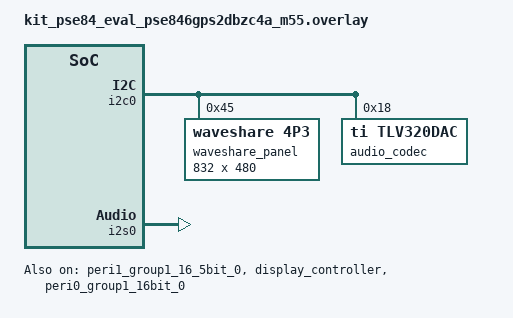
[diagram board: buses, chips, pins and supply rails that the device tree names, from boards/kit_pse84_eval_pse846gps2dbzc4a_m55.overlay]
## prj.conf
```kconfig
# DevCon 2026 PSOC Edge lab - Device Dashboard, cheat tier.
#
# The display half of this file is inherited wholesale from the proven
# e84-display-lab smoke test; the comments there explain *why* each symbol is
# needed and are kept verbatim because attendees read this file during
# touchpoint 2.

# --- Display plumbing (proven) --------------------------------------------
#
# The infineon_dc display driver only supports whole-frame flushes (it swaps
# the entire frame buffer pointer rather than copying partial rects), so LVGL
# must be forced into full-refresh rendering mode.
#
# A full-frame RGB565 buffer at 832x480 is ~781 KB, which does not fit in the
# M55 core's system RAM region. Placing it in the "GFX_MEMORY"
# zephyr,memory-region (the gfx_mem node the board overlay adds in SOCMEM)
# avoids the RAM overflow and matches what the DC hardware expects to read the
# framebuffer from anyway.
CONFIG_LV_Z_VDB_ZEPHYR_REGION=y
CONFIG_LV_Z_VDB_ZEPHYR_REGION_NAME="GFX_MEMORY"

# Two rendering buffers, not one. ifx_dc_write() does not copy pixels - it
# points the display controller straight at the buffer LVGL hands it. With a
# single buffer that is the same memory the panel is actively scanning out, so
# every element flickers once per update. Mandatory with full refresh.
CONFIG_LV_Z_DOUBLE_VDB=y

CONFIG_DISPLAY=y
CONFIG_DISPLAY_LOG_LEVEL_ERR=y

CONFIG_LVGL=y
CONFIG_LV_Z_FULL_REFRESH=y
CONFIG_LV_COLOR_DEPTH_16=y
CONFIG_LV_USE_LOG=y

# --- Touch input ----------------------------------------------------------
#
# The FocalTech controller is already described in the board DTS on i2c0; all
# that is needed here is to build the driver and the input subsystem that
# carries its events into LVGL's indev layer.
CONFIG_INPUT=y
CONFIG_INPUT_FT5336=y

# The touch node declares no "int-gpios", so INPUT_FT5336_INTERRUPT defaults
# to n and the driver polls on the system workqueue every 10 ms. Because
# input_report() refuses to block when called from syswq, a full queue drops
# events rather than waiting - silently, apart from a warning.
#
# Each sample reports three events (X, Y, BTN_TOUCH), so the default 16-deep
# queue holds only ~53 ms of touch. A full-screen repaint takes ~47 ms of
# uninterrupted CPU, and the input thread defaults to preemptible priority 0 -
# the same as main - so it cannot preempt the repaint to drain the queue.
# Every repaint therefore sat on the edge of overflowing it, and dragging a
# slider (which legitimately repaints continuously) pushed it over: the log
# filled with "Event dropped, queue full" and presses went missing.
#
# Two independent changes, because queue depth alone is a guess that has to
# track repaint duration:
#   - a deeper queue absorbs the burst (64 x 3 events = ~213 ms of touch)
#   - the input thread keeps its default preemptible priority. Raising it to
#     a cooperative priority also works and drains with lower latency, but a
#     cooperative thread is never preempted, so any slow callback - a stray
#     LOG_INF over a 115200 UART in immediate mode is enough - starves the
#     main thread that LVGL runs on. That is a sharp edge to leave in a lab
#     exercise, and the deeper queue alone covers the burst.
CONFIG_INPUT_QUEUE_MAX_MSGS=64

# The touch controller and the BMI270 share i2c0, and the bus throws an
# occasional error event under load. Recovering from one is expensive: the
# SCB interrupt handler busy-waits up to 10 ms for the block to go idle and
# then logs, which in immediate log mode blocks the UART for several more
# milliseconds - all with the interrupt still being serviced. A burst of
# those during a drag pushed lv_timer_handler from 47 ms to over 200 ms.
#
# Polling at 50 Hz instead of 100 Hz halves the transactions on the bus and
# so roughly halves the number of error events, while staying comfortably
# above the ~21 fps the display can actually repaint at. Note the symbol is
# INPUT_FT5336_PERIOD_MS - the driver has no CONFIG_INPUT_FT5336_PERIOD, and
# a .conf setting that name is accepted silently and does nothing.
CONFIG_INPUT_FT5336_PERIOD_MS=20

# --- LED PWM --------------------------------------------------------------
#
# See the board overlay for the devicetree side. Without CONFIG_PWM the
# PWM_DT_SPEC_GET() calls in src/main.c compile but resolve to a driver API
# that was never built.
#
# TODO 1c: uncomment the line below. This is the half of Step 1 that
# lives in Kconfig rather than in devicetree: the overlay says the LEDs
# exist, and this says build the driver that drives them. Leaving it out
# does not fail in the overlay - it fails at link time, a long way away.
# CONFIG_PWM=y

# --- IMU ------------------------------------------------------------------
#
# bmi270 is on i2c0 at 0x68 with the accel0 alias, declared by the board.
CONFIG_SENSOR=y
CONFIG_BMI270=y

# --- Local module ---------------------------------------------------------
#
# modules/tilt_filter is pulled in by ZEPHYR_EXTRA_MODULES in CMakeLists.txt,
# but a module only contributes code when its own Kconfig symbol is set. This
# line is the switch. Set it to n and the build still succeeds - the tilt
# readout just becomes visibly jittery.
#
# TODO 2a: uncomment both lines below. The second one is the filter
# strength - the module declares it with a default, so setting it here
# is optional, and changing it is the quickest way to see a Kconfig
# value reach real code.
# CONFIG_TILT_FILTER=y
# CONFIG_TILT_FILTER_ALPHA_PERCENT=18

# --- Audio feedback -------------------------------------------------------
#
# The second local module, modules/beeper, plays a short tone through the
# board's TLV320DAC3100 and onboard speaker when a slider is released. It
# needs three subsystems underneath it:
#
#   I2S          carries the samples to the codec
#   AUDIO_CODEC  configures and routes the codec over i2c0 (it has no data
#                path of its own - see the comment at the top of beeper.c)
#   DMA          the I2S transmitter is fed by dma0 channel 1
#
# The codec, i2s0 and the clock divider that produces its 12.288 MHz MCLK
# are all described in the board overlay.
#
# TODO 3a: uncomment CONFIG_BEEPER below. Note the four symbols above it
# are already set: BEEPER depends on I2S and AUDIO_CODEC, and a symbol
# whose dependencies are unmet is silently dropped rather than reported,
# so turning it on without them would look like nothing happened.
CONFIG_I2S=y
CONFIG_AUDIO=y
CONFIG_AUDIO_CODEC=y
CONFIG_DMA=y

# CONFIG_BEEPER=y

# --- LVGL widgets and fonts used by the UI --------------------------------
#
# Each widget family is an independent Kconfig symbol so unused ones cost no
# flash. The dashboard uses sliders (which are built on bars), an arc for the
# tilt meter, and labels throughout.
CONFIG_LV_USE_LABEL=y
CONFIG_LV_USE_BAR=y
CONFIG_LV_USE_SLIDER=y
CONFIG_LV_USE_ARC=y

CONFIG_LV_FONT_MONTSERRAT_14=y
CONFIG_LV_FONT_MONTSERRAT_18=y
CONFIG_LV_FONT_MONTSERRAT_28=y
CONFIG_LV_FONT_MONTSERRAT_40=y

# Rounded corners, gradients and the arc's anti-aliased stroke all allocate
# from LVGL's own heap rather than the Zephyr heap. The smoke test's 16 KB is
# not enough once there are a dozen styled objects on screen.
CONFIG_LV_Z_MEM_POOL_SIZE=49152

# --- Diagnostics ----------------------------------------------------------
CONFIG_LOG=y
# Immediate mode so the build-stamp banner (see src/main.c) can never be lost
# to a deferred log ring buffer that doesn't get serviced if something early
# in the display init path hangs.
CONFIG_LOG_MODE_IMMEDIATE=y

CONFIG_MAIN_STACK_SIZE=8192
```

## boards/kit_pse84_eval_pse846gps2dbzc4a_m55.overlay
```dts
/*
 * Copyright (c) 2026 Infineon Technologies AG,
 * or an affiliate of Infineon Technologies AG.
 *
 * SPDX-License-Identifier: Apache-2.0
 *
 * DevCon 2026 PSOC Edge lab - Device Dashboard overlay (cheat tier).
 *
 * Two halves, both needed by the dashboard:
 *   1. Display + touch: Waveshare 4.3" DSI panel (800x480 active /
 *      832x480 total timing) on the infineon_dc controller, plus the
 *      FocalTech touch controller already present on i2c0.
 *   2. LED PWM: the three on-board LEDs rerouted from gpio-leds to TCPWM
 *      so they can be dimmed rather than just switched.
 *
 * The PWM half was brought up and proven on real hardware before being
 * merged in here - see zephyr-apps/e84-pwm-proof/.
 */

#include <zephyr/dt-bindings/pwm/pwm.h>
#include <zephyr/dt-bindings/display/panel.h>
#include <zephyr/dt-bindings/clock/ifx_clock_source_common.h>
#include <zephyr/dt-bindings/memory-attr/memory-attr-arm.h>

/*
 * MIPI DSI PHY reference clock.
 *
 * clk_hf12 is not a peripheral bus clock - no IP in the PDL's MMIO table
 * claims it (GFXSS itself runs from CLK_HF1, which the board already
 * drives at the 400 MHz that display_infineon_dc.c's hardcoded
 * GFXSS_config.clockHz expects). It is the DSI PHY's PLL reference, and
 * like most DSI PHYs this one needs a reference in the ~25 MHz range.
 *
 * Both mainline and Infineon's downstream kit_pse84_eval_m33.dts leave
 * clk_hf12 on CLKPATH4, which has no DPLL attached and so falls back to
 * the 50 MHz IMO - too fast for the PHY to lock. Measured on hardware
 * with Cy_SysClk_ClkHfGetFrequency(). The failure is completely silent:
 * the display controller still raises frame-complete interrupts, panel
 * I2C still works, every init call still returns 0, and the only visible
 * symptom is that the panel's backlight never turns on (this panel gates
 * its backlight on locking to a valid video stream).
 *
 * CLKPATH3 divided by 2 gives 25 MHz. This matches the known-working
 * configuration used for the PSOC Edge graphics benchmarking work on this
 * same board and panel, which carried the identical app-level override.
 */
&clk_hf12 {
	status = "okay";
	source-path = <IFX_CLK_HF_IN_CLKPATH3>;
	clock-div = <IFX_CLK_HF_DIVIDE_BY_2>;
};

/ {
	chosen {
		zephyr,display = &display_controller;
	};

	soc {
		/*
		 * display_infineon_dc.c hard-codes a reference to a DT
		 * nodelabel literally named "gfx_mem" (GFX_BUF_ADDR_BASE =
		 * DT_REG_ADDR(DT_NODELABEL(gfx_mem))) for its frame buffer.
		 * Mainline's kit_pse84_eval board files never carried this
		 * node over from Infineon's downstream fork (only m55_data,
		 * 256 KB at 0x26100000, is reserved there) - add it here.
		 * SOCMEM is 0x26000000..0x26500000 (5 MB); this carves out
		 * 2 MB starting right after m55_data, well clear of the 5 MB
		 * bound. No GPU/vg_lite in this smoke test, so the whole
		 * region is available to the DC's plain framebuffer.
		 */
		gfx_mem: memory@26140000 {
			compatible = "zephyr,memory-region", "mmio-sram";
			zephyr,memory-region = "GFX_MEMORY";
			reg = <0x26140000 DT_SIZE_M(2)>;

			/*
			 * The display controller DMAs the frame buffer
			 * straight out of SOCMEM while the CM55 renders into
			 * it through its D-cache, so this region has to be
			 * mapped non-cacheable or the DC scans out whatever
			 * stale contents SOCMEM happens to hold - the dirty
			 * cache lines may never be written back. The symptom
			 * is garbled/torn output with an otherwise perfectly
			 * healthy pipeline (DC interrupts firing, every flush
			 * returning success).
			 *
			 * Infineon's downstream fork solves this with a
			 * bespoke ".cy_gpu_buf" non-cacheable linker section,
			 * which mainline has no equivalent of. The portable
			 * way is the standard memory-attr binding.
			 */
			zephyr,memory-attr = <DT_MEM_ARM(ATTR_MPU_RAM_NOCACHE)>;
		};
	};
};

&i2c0 {
	waveshare_panel: waveshare_panel@45 {
		compatible = "waveshare,4p3";
		reg = <0x45>;
		status = "okay";
		pixel-format = <PANEL_PIXEL_FORMAT_RGB_888>;
		height = <480>;
		width = <832>;
	};

	/*
	 * U18 on the base board (sheet 18). The TLV320DAC3100's RESET pin is
	 * pulled to VDD_1V8 through R156 and only brought out to an
	 * unpopulated test point, so there is no GPIO to name here. Mainline
	 * required reset-gpios until very recently; the fork carries the
	 * change that makes it optional, after which the driver falls back to
	 * the I2C software reset it issues anyway.
	 *
	 * The 3.5 mm headphone jack on this board is a do-not-install part,
	 * so the only usable output is the mono class-D speaker on SPKP/SPKM.
	 * The in-tree driver configures both output paths unconditionally, so
	 * nothing extra is needed to select the speaker - only its gain. The
	 * onboard MCABS-247-RC is quiet at the 6 dB reset default; 18 dB is
	 * comfortable without clipping.
	 */
	audio_codec: tlv320dac3100@18 {
		compatible = "ti,tlv320dac";
		reg = <0x18>;
		speaker-gain = <18>;
		status = "okay";
	};
};

/*
 * I2S0 drives the codec only - the DAC3100 has no ADC - so only the transmit
 * direction and its DMA channel are described. The board's PDM microphones
 * are deliberately left out: this lab plays feedback tones, it does not
 * record.
 */
&i2s0 {
	pinctrl-0 = <&p21_3_tdm_i2s0_tx_mck &p21_2_tdm_i2s0_tx_sck
		     &p12_3_tdm_i2s0_tx_fsync &p21_1_tdm_i2s0_tx_sd>;
	pinctrl-names = "default";
	clocks = <&peri1_group1_16_5bit_0>;
	status = "okay";

	dmas = <&dma0 1>;
	dma-names = "tx";
};

&p21_3_tdm_i2s0_tx_mck {
	drive-push-pull;
	drive-strength = "half";
};

&p21_2_tdm_i2s0_tx_sck {
	drive-push-pull;
	drive-strength = "half";
};

&p12_3_tdm_i2s0_tx_fsync {
	drive-push-pull;
	drive-strength = "half";
};

&p21_1_tdm_i2s0_tx_sd {
	drive-push-pull;
	drive-strength = "half";
};

/*
 * MCLK to the codec. clk_hf7 feeds peri1_group1 and is left at the board
 * default (CLKPATH1 / dpll_lp1 = 49.152 MHz), so /4 gives exactly
 * 12.288 MHz. At 16 kHz / 16-bit / stereo the I2S driver then divides to
 * 512 kHz and the codec resolves to an integer set of DAC dividers - the
 * point of picking a 49.152 MHz path is that every division below it comes
 * out exact, so there is no sample-rate error to hear.
 *
 * Note this property is the divisor itself, despite infineon,peri-div.yaml
 * documenting it as (clock-div + 1).
 */
&peri1_group1_16_5bit_0 {
	status = "okay";
	clock-div = <3>;
	div-frac-value = <0>;
};

&dma0 {
	status = "okay";
};

&gpio_prt12 {
	status = "okay";
};

&gpio_prt21 {
	status = "okay";
};

&display_controller {
	status = "okay";

	height = <480>;
	width = <832>;

	pixel-clock-khz = <33768>;
	hsync-width = <10>;
	hfp = <210>;
	hbp = <20>;
	vsync-width = <5>;
	vfp = <20>;
	vbp = <20>;

	data-lanes = <1>;
	per-lane-mbps = <810>;

	input-pixel-format = <PANEL_PIXEL_FORMAT_RGB_565>;
	panel = <&waveshare_panel>;
};

/* ---- LED PWM path (proven on hardware 2026-10-02) ---- */

/*
 * The board's gpio-leds node drives these same three pins as plain GPIO
 * outputs at init, which would fight the TCPWM peripheral for the pin. The
 * node has no nodelabel, so reference it by path.
 */
&{/leds} {
	status = "disabled";
};

/*
 * Each LED pin has a direct TCPWM option in the SoC pinctrl file
 * (pse84.bga-220_s.dtsi), so the counter output reaches the pad with no
 * trigger-mux routing:
 *
 *   LED0 / Red    P16.7 -> p16_7_pwm0_7 -> tcpwm0_7
 *   LED1 / Green  P16.6 -> p16_6_pwm0_6 -> tcpwm0_6
 *   LED2 / Blue   P16.5 -> p16_5_pwm0_5 -> tcpwm0_5
 *
 * Both the TCPWM instance and its pwm child default to disabled, so each
 * needs enabling explicitly.
 */
/*
 * The TCPWM counter needs a peripheral clock divider. This is the part the
 * binding does not tell you about: infineon,tcpwm-pwm.yaml never declares
 * "clocks" as required, but pwm_infineon_tcpwm.c dereferences it
 * unconditionally (PWM_PERI_CLOCK_INIT reads peri-group, div-type and
 * channel straight off the phandle). Omit it and you get a wall of macro
 * expansion errors rather than a devicetree diagnostic.
 *
 * TCPWM0 sits in peripheral instance 0, group 1 (clk-dst 0x112/0x113/0x114),
 * so the divider has to come from that same group. The board already claims
 * peri0_group1_16bit_1 for UART2 and _16bit_3 for I2C0, leaving _16bit_0
 * and _16bit_2 free.
 *
 * One divider feeds all three LEDs: they share a period, and a divider is a
 * clock source that any number of destinations can be assigned to.
 */
&peri0_group1_16bit_0 {
	status = "okay";
	clock-div = <1>;
};

/*
 * TODO 1a: enable the three TCPWM counters that drive the LEDs.
 *
 * Uncomment the six blocks below. Each LED needs two: the counter
 * instance (&tcpwm0_N) and the pwm child under it (&pwm0_N). Both
 * default to disabled, so enabling only one half gets you nothing.
 *
 * The "clocks" property on each pwm child is already filled in and is
 * worth a look - see the comment above &peri0_group1_16bit_0. The
 * binding does not mark it required, but the driver dereferences it
 * unconditionally, so leaving it out gets you a page of macro
 * expansion errors rather than a devicetree diagnostic.
 *
 * Then do TODO 1b at the bottom of this file.
 */
// &tcpwm0_7 {
// 	status = "okay";
// };
//
// &pwm0_7 {
// 	status = "okay";
// 	clocks = <&peri0_group1_16bit_0>;
// 	pinctrl-0 = <&p16_7_pwm0_7>;
// 	pinctrl-names = "default";
// };
//
// &tcpwm0_6 {
// 	status = "okay";
// };
//
// &pwm0_6 {
// 	status = "okay";
// 	clocks = <&peri0_group1_16bit_0>;
// 	pinctrl-0 = <&p16_6_pwm0_6>;
// 	pinctrl-names = "default";
// };
//
// &tcpwm0_5 {
// 	status = "okay";
// };
//
// &pwm0_5 {
// 	status = "okay";
// 	clocks = <&peri0_group1_16bit_0>;
// 	pinctrl-0 = <&p16_5_pwm0_5>;
// 	pinctrl-names = "default";
// };

/*
 * Routing the pin to the TCPWM is only half the job. The Infineon pinctrl
 * driver starts from CY_GPIO_DM_ANALOG and only moves off it if the node
 * asks for a drive mode or a bias - see soc_gpio_get_drv_mode() in
 * drivers/pinctrl/pinctrl_infineon.c. A node carrying nothing but "pinmux"
 * therefore leaves the pad in analog high-Z: correctly muxed to the counter
 * and driving nothing.
 *
 * Nothing reports this. The PWM driver programs its registers happily and
 * every pwm_set_pulse_dt() call returns 0, because no part of the chain can
 * see that the pad is disconnected. The only symptom is a dark LED.
 *
 * The board's own pinctrl file does the same thing for every output it uses
 * (drive-push-pull on each UART TX, drive-open-drain plus input-enable on
 * the I2C pair), which is the idiom followed here. No input-enable: these
 * pins are outputs only, so the input buffer stays off.
 */
&p16_7_pwm0_7 {
	drive-push-pull;
};

&p16_6_pwm0_6 {
	drive-push-pull;
};

&p16_5_pwm0_5 {
	drive-push-pull;
};

/ {
	/*
	 * pwm-leds gives us the pwm_dt_spec helpers (pwm_set_pulse_dt), which
	 * is the API the lab teaches. The period lives in the pwm-cells: the
	 * first cell is the channel (unused by this driver), the second the
	 * period in ns, the third the flags.
	 *
	 * 1 ms period = 1 kHz, comfortably above the ~100 Hz flicker-fusion
	 * threshold, so a dimmed LED looks steady rather than strobing.
	 */
	/*
	 * TODO 1b: uncomment this whole "pwmleds" block and the
	 * "aliases" block under it, once TODO 1a above is done.
	 *
	 * It has to stay fully commented out until then: a pwm-leds node
	 * whose "pwms" property points at a disabled counter fails
	 * devicetree validation, so a half-done Step 1 does not build.
	 *
	 * pwmleds {
	 *	compatible = "pwm-leds";
	 *
	 *	pwm_led_red: pwm_led_red {
	 *		pwms = <&pwm0_7 0 PWM_MSEC(1) PWM_POLARITY_NORMAL>;
	 *		label = "PWM LED_0 Red";
	 *	};
	 *
	 *	pwm_led_green: pwm_led_green {
	 *		pwms = <&pwm0_6 0 PWM_MSEC(1) PWM_POLARITY_NORMAL>;
	 *		label = "PWM LED_1 Green";
	 *	};
	 *
	 *	pwm_led_blue: pwm_led_blue {
	 *		pwms = <&pwm0_5 0 PWM_MSEC(1) PWM_POLARITY_NORMAL>;
	 *		label = "PWM LED_2 Blue";
	 *	};
	 * };
	 *
	 * aliases {
	 *	pwm-led0 = &pwm_led_red;
	 *	pwm-led1 = &pwm_led_green;
	 *	pwm-led2 = &pwm_led_blue;
	 * };
	 */
};
```

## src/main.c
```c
/*
 * Copyright (c) 2026 Infineon Technologies AG,
 * or an affiliate of Infineon Technologies AG.
 *
 * SPDX-License-Identifier: Apache-2.0
 *
 * DevCon 2026 PSOC Edge lab - Device Dashboard, cheat tier.
 *
 * Three on-board LEDs dimmed over hardware PWM from LVGL sliders, plus a live
 * tilt readout from the on-board BMI270. Nothing on this screen is simulated:
 * touch drives real hardware, and the meter follows a real sensor.
 *
 * The three lab touchpoints all meet here:
 *   - devicetree: the pwm-led0..2 aliases and accel0 resolved below only
 *     exist because of boards/kit_pse84_eval_pse846gps2dbzc4a_m55.overlay
 *   - modules:    LVGL arrives as a west module; tilt_filter is a local one
 *   - code:       the PWM, sensor and LVGL API calls in this file
 */

#include <zephyr/device.h>
#include <zephyr/devicetree.h>
#include <zephyr/drivers/display.h>
#include <zephyr/drivers/pwm.h>
#include <zephyr/drivers/sensor.h>
#include <zephyr/kernel.h>

#include <lvgl.h>
#include <math.h>
#include <stdio.h>

#ifdef CONFIG_TILT_FILTER
#include <tilt_filter.h>
#endif
#ifdef CONFIG_BEEPER
#include <beeper.h>
#endif

#include "ui.h"

#include <zephyr/logging/log.h>
LOG_MODULE_REGISTER(e84_dashboard);

/*
 * This guard exists only in the lab skeletons.
 *
 * Without it, an unfinished Step 1 produces around a hundred lines of
 * devicetree macro expansion errors - all of them real, none of them
 * saying what is actually wrong. The #error below says it in one line,
 * and the dummy definition in this branch keeps the rest of the file
 * quiet so that line is the only thing you have to read.
 */
#if !DT_NODE_EXISTS(DT_ALIAS(pwm_led0))

#error "Step 1 is not finished. The pwm-led0 alias does not exist yet, \
so there is no PWM channel for this file to reference. Go back to \
boards/kit_pse84_eval_pse846gps2dbzc4a_m55.overlay and complete TODO 1a \
and TODO 1b, then build again."

static const struct pwm_dt_spec led_pwm[UI_LED_COUNT];

#else

/*
 * Second half of the same guard, and a reminder that devicetree alone is
 * never enough. The aliases above now exist, but a node being enabled in
 * devicetree does not build the driver that binds to it - that is what
 * CONFIG_PWM does. Without it this file compiles perfectly well and then
 * fails at link time with an undefined reference to a generated device
 * symbol, which names no file and no line.
 */
#if !defined(CONFIG_PWM)
#error "Step 1 is not finished. The LED nodes are enabled in devicetree \
now, but CONFIG_PWM is still off, so the PWM driver is not being built \
and nothing can bind to those nodes. Complete TODO 1c in prj.conf, then \
build again."
#endif

/*
 * PWM_DT_SPEC_GET() captures the device pointer, channel, period and flags
 * from the devicetree at build time. If one of these aliases is missing the
 * failure is a compile error, not a runtime surprise - which is exactly what
 * is wanted for something attendees are editing by hand.
 */
static const struct pwm_dt_spec led_pwm[UI_LED_COUNT] = {
	PWM_DT_SPEC_GET(DT_ALIAS(pwm_led0)),
	PWM_DT_SPEC_GET(DT_ALIAS(pwm_led1)),
	PWM_DT_SPEC_GET(DT_ALIAS(pwm_led2)),
};

#endif

static const struct device *const imu = DEVICE_DT_GET(DT_ALIAS(accel0));

/*
 * How often LVGL is serviced, and how often the IMU is read. These used to be
 * the same thing: every pass repainted the whole screen, so the display
 * controller set the pace and the sensor was simply read once per frame. Now
 * that the UI only repaints when a value changes, an idle pass costs
 * microseconds, and the two rates are free to differ.
 */
#define UI_TICK_MS       10
#define IMU_PERIOD_MS    50
#define REPORT_PERIOD_MS 5000U

/* Starting brightness per channel - chosen so the panel looks alive at boot. */
static const uint8_t initial_percent[UI_LED_COUNT] = { 70, 45, 20 };

#ifdef CONFIG_TILT_FILTER
static struct tilt_filter pitch_filter;
static struct tilt_filter roll_filter;
#endif

/*
 * Resting orientation, captured at startup and subtracted from every reading.
 *
 * Without this the meter reads whatever angle the EVK happens to be sitting
 * at - on this desk, -52 degrees of roll, because the board does not lie flat
 * once the panel is mounted on its stand-offs. Every attendee's bench is
 * different, so an absolute reading makes the demo behave differently on
 * every table. Zeroing at boot makes "flat" mean "however you left it", which
 * is what the attendee expects when they pick the board up and tip it.
 *
 * Subtracting the resting pitch and roll is not enough, though, and the
 * difference is visible rather than academic. Pitch is measured against true
 * vertical, so once the board already leans, a given physical rotation lands
 * only partly in the pitch plane: at this board's ~54 degrees of resting
 * roll, tipping it 20 degrees moves the reading about 10.5, and drags roll
 * 1.6 degrees along with it. The meter under-reads by roughly 40% and the
 * two axes bleed into each other.
 *
 * Angles do not compose by subtraction. Rotations do. So capture the resting
 * gravity vector instead of the resting angles, build the rotation that takes
 * it to +Z, and apply that to every later sample before deriving the angles.
 * The attendee then gets full sensitivity and independent axes whatever angle
 * the board is propped at, which matters because in a room full of EVKs no
 * two will be propped alike.
 */
static float ref_rot[3][3] = {
	{ 1.0f, 0.0f, 0.0f },
	{ 0.0f, 1.0f, 0.0f },
	{ 0.0f, 0.0f, 1.0f },
};

static int led_set_percent(uint8_t index, uint8_t percent)
{
	/*
	 * TODO 1d: drive this LED at `percent` brightness.
	 *
	 * led_pwm[index] is a struct pwm_dt_spec, filled in from the overlay
	 * you edited in Step 1. It carries the device, the channel, the period
	 * devicetree declared, and the polarity flags.
	 *
	 * Use pwm_set_pulse_dt(). It takes the spec and a pulse width in the
	 * same units as the period, so a percentage means scaling the period
	 * from the spec rather than hardcoding a number here - the overlay is
	 * allowed to change the period and this should still be correct.
	 *
	 * Watch the arithmetic: period * 100 overflows a uint32_t for any
	 * period longer than about 43 ms.
	 *
	 * Return what pwm_set_pulse_dt() returns; the caller logs failures.
	 *
	 * https://docs.zephyrproject.org/latest/hardware/peripherals/pwm.html
	 */
	ARG_UNUSED(index);
	ARG_UNUSED(percent);

	return 0; /* Replace this. */
}

static void on_brightness(uint8_t index, uint8_t percent)
{
	int ret = led_set_percent(index, percent);

	if (ret < 0) {
		LOG_ERR("LED%u set %u%% failed (%d)", index, percent, ret);
	}
}

/*
 * Convert a gravity vector into pitch/roll in millidegrees.
 *
 * With the board flat, gravity sits almost entirely on Z. Tipping it moves
 * that component onto X or Y, and the arctangent of the ratio is the angle.
 * atan2f() rather than atanf() so the sign of both operands is respected and
 * the result covers the full +/-180 range instead of folding at 90.
 *
 * Which axis is which is a property of how the BMI270 is placed on this PCB,
 * not of how the board sits on the desk, and on this board it is not the
 * mapping you would guess:
 *
 *   sensor Y -> runs up and down the panel -> tipping the board forward and
 *               back moves gravity along it, so Y gives PITCH
 *   sensor X -> runs left and right across the panel -> tipping the board
 *               left and right moves gravity along it, so X gives ROLL
 *
 * The first version of this function had those two swapped, which is only
 * detectable by picking the board up and tilting it - every static reading
 * looks perfectly plausible. Signs are chosen so that tilting the far edge
 * up reads positive pitch and dropping the right side reads positive roll,
 * which is what someone holding the board expects to see.
 */
static void accel_to_angles(const float v[3], int32_t *pitch_mdeg, int32_t *roll_mdeg)
{
	const float rad_to_mdeg = 57295.779513f; /* (180/pi) * 1000 */

	*pitch_mdeg = (int32_t)(atan2f(-v[1], v[2]) * rad_to_mdeg);
	*roll_mdeg = (int32_t)(atan2f(v[0], sqrtf(v[1] * v[1] + v[2] * v[2])) * rad_to_mdeg);
}

/*
 * Build the rotation that takes the measured resting gravity vector onto +Z,
 * i.e. that makes "however the board is propped right now" mean level.
 *
 * This is Rodrigues' rotation formula for the specific case of rotating a
 * unit vector a onto b = (0,0,1). The axis is v = a x b = (ay, -ax, 0) and
 * the cosine of the angle is c = a.z, which collapses the general form
 * R = I + K + K^2/(1+c) into the closed form below.
 *
 * The 1/(1+c) term is singular when c = -1, i.e. the board was face-down at
 * boot. There is no unique rotation in that case (any axis in the XY plane
 * works), so pick one: a half turn about X.
 */
static void build_ref_rot(float ax, float ay, float az)
{
	float k;

	if (az < -0.999f) {
		ref_rot[0][0] = 1.0f;  ref_rot[0][1] = 0.0f;  ref_rot[0][2] = 0.0f;
		ref_rot[1][0] = 0.0f;  ref_rot[1][1] = -1.0f; ref_rot[1][2] = 0.0f;
		ref_rot[2][0] = 0.0f;  ref_rot[2][1] = 0.0f;  ref_rot[2][2] = -1.0f;
		return;
	}

	k = 1.0f / (1.0f + az);

	ref_rot[0][0] = 1.0f - ax * ax * k;
	ref_rot[0][1] = -ax * ay * k;
	ref_rot[0][2] = -ax;

	ref_rot[1][0] = -ax * ay * k;
	ref_rot[1][1] = 1.0f - ay * ay * k;
	ref_rot[1][2] = -ay;

	ref_rot[2][0] = ax;
	ref_rot[2][1] = ay;
	ref_rot[2][2] = 1.0f - (ax * ax + ay * ay) * k;
}

static void apply_ref_rot(const float in[3], float out[3])
{
	for (int r = 0; r < 3; r++) {
		out[r] = ref_rot[r][0] * in[0] + ref_rot[r][1] * in[1] +
			 ref_rot[r][2] * in[2];
	}
}

/*
 * Bring the accelerometer out of suspend.
 *
 * The BMI270 powers up with both the accelerometer and gyroscope disabled.
 * device_is_ready() still returns true and sensor_sample_fetch() still returns
 * 0 in that state - the driver reads the data registers successfully, they
 * just contain zeroes. That is the worst kind of failure to debug from a UI,
 * because a perfectly level reading is exactly what a board sitting on a desk
 * is supposed to produce.
 *
 * Sampling frequency must be set *last*: in this driver it is the write that
 * also selects the power mode, so anything configured after it is applied to a
 * running sensor.
 *
 * Only the accelerometer is configured. The dashboard derives tilt from
 * gravity alone, and leaving the gyroscope suspended saves a few hundred uA.
 */
static int imu_configure(void)
{
	struct sensor_value full_scale = { .val1 = 2, .val2 = 0 };   /* +/- 2 g */
	struct sensor_value oversampling = { .val1 = 1, .val2 = 0 }; /* normal mode */
	struct sensor_value sampling_freq = { .val1 = 100, .val2 = 0 }; /* Hz */
	int ret;

	ret = sensor_attr_set(imu, SENSOR_CHAN_ACCEL_XYZ, SENSOR_ATTR_FULL_SCALE, &full_scale);
	if (ret == 0) {
		ret = sensor_attr_set(imu, SENSOR_CHAN_ACCEL_XYZ, SENSOR_ATTR_OVERSAMPLING,
				      &oversampling);
	}
	if (ret == 0) {
		ret = sensor_attr_set(imu, SENSOR_CHAN_ACCEL_XYZ,
				      SENSOR_ATTR_SAMPLING_FREQUENCY, &sampling_freq);
	}

	if (ret != 0) {
		LOG_ERR("IMU configuration failed (%d)", ret);
	}

	return ret;
}

/* Read one raw gravity sample into g units. Returns 0 on success. */
static int imu_read_accel(float v[3])
{
	struct sensor_value accel[3];
	int ret;

	/*
	 * SENSOR_CHAN_ALL, not SENSOR_CHAN_ACCEL_XYZ. The API allows a driver
	 * to support per-channel fetches, but bmi270_sample_fetch() reads
	 * accel, gyro and temperature in one 12-byte burst and rejects any
	 * narrower request with -ENOTSUP. Asking for the narrower channel here
	 * fails every single poll.
	 *
	 * The *read* below is per-channel - that part the driver does support.
	 * Only the fetch is all-or-nothing.
	 */
	ret = sensor_sample_fetch(imu);
	if (ret != 0) {
		return ret;
	}

	ret = sensor_channel_get(imu, SENSOR_CHAN_ACCEL_XYZ, accel);
	if (ret != 0) {
		return ret;
	}

	for (int i = 0; i < 3; i++) {
		v[i] = (float)sensor_value_to_double(&accel[i]);
	}

	return 0;
}

/* Read one sample and convert it. Returns 0 on success. */
static int imu_read_angles(int32_t *pitch_mdeg, int32_t *roll_mdeg)
{
	float raw[3];
	float level[3];
	int ret = imu_read_accel(raw);

	if (ret != 0) {
		return ret;
	}

	/*
	 * Rotate into the frame captured at boot before deriving angles, so
	 * the readings are measured from where the board was resting rather
	 * than from true horizontal.
	 */
	apply_ref_rot(raw, level);
	accel_to_angles(level, pitch_mdeg, roll_mdeg);

	return 0;
}

/*
 * Average a short burst of samples to establish the resting orientation.
 *
 * Note this averages the gravity *vector* and then derives a rotation from
 * it, rather than averaging the pitch and roll angles and subtracting them
 * later. Subtracting angles looks equivalent and is not: pitch is measured
 * against true vertical, so on a board already propped at 54 degrees a 20
 * degree tip only registers as about 10.5, and it disturbs the roll reading
 * on the way past. Rotating the frame keeps both axes at full sensitivity
 * and independent of each other, whatever angle the board is propped at -
 * which matters in a room where no two boards will be propped alike.
 */
static void imu_capture_zero(void)
{
	const int discard = 12;
	const int samples = 16;
	float sum[3] = { 0.0f, 0.0f, 0.0f };
	float norm;
	int taken = 0;

	/*
	 * Discard the first readings rather than averaging them in.
	 *
	 * The accelerometer does not deliver its final value the instant it
	 * leaves suspend - the output ramps towards the true angle over the
	 * first few hundred milliseconds. Averaging across that ramp captured a
	 * zero reference ~9.8 degrees away from the resting angle on this
	 * board, so the meter settled at a constant non-zero reading after
	 * boot, which looks exactly like a broken calibration.
	 */
	for (int i = 0; i < discard; i++) {
		float v[3];

		(void)imu_read_accel(v);
		k_sleep(K_MSEC(25));
	}

	for (int i = 0; i < samples; i++) {
		float v[3];

		if (imu_read_accel(v) == 0) {
			sum[0] += v[0];
			sum[1] += v[1];
			sum[2] += v[2];
			taken++;
		}
		k_sleep(K_MSEC(15));
	}

	if (taken == 0) {
		LOG_WRN("tilt zero reference: no samples, using board axes as level");
		return;
	}

	/*
	 * Normalise before building the rotation. Rodrigues' formula is only a
	 * rotation for a unit vector, and this one is nowhere near unit length
	 * anyway - sensor_value_to_double() returns m/s^2, so a board at rest
	 * reads about 9.81, not 1. Feeding that in unnormalised would quietly
	 * scale every later reading. The floor below is well under 1 g in
	 * either unit, so it only catches a dead or free-falling sensor.
	 */
	norm = sqrtf(sum[0] * sum[0] + sum[1] * sum[1] + sum[2] * sum[2]);
	if (norm < 0.1f) {
		LOG_WRN("tilt zero reference: |g| too small to trust, staying level");
		return;
	}

	build_ref_rot(sum[0] / norm, sum[1] / norm, sum[2] / norm);

	/* Printed as a unit vector in thousandths: 1000 is full gravity. */
	LOG_INF("tilt zero reference: g = (%d, %d, %d)/1000 over %d samples",
		(int)(sum[0] / norm * 1000.0f), (int)(sum[1] / norm * 1000.0f),
		(int)(sum[2] / norm * 1000.0f), taken);
}

int main(void)
{
	const struct device *display_dev;
	bool imu_ok;
	bool imu_warned = false;
	uint32_t tick = 0;
	uint32_t next_imu_ms = 0;
	uint32_t next_report_ms = REPORT_PERIOD_MS;
	int ret;

	/*
	 * Per-build stamp, logged before anything else runs. OpenOCD can report
	 * a successful program + verify on this chip family while leaving the
	 * previous image running, so a clean programmer log is not evidence
	 * that a flash landed. A compile timestamp can be cross-checked against
	 * the ELF's mtime, which makes it the one value that identifies the
	 * running image. Requires a pristine build (west build -p always).
	 */
	LOG_INF("e84-dashboard build stamp: " __DATE__ " " __TIME__);

	display_dev = DEVICE_DT_GET(DT_CHOSEN(zephyr_display));
	if (!device_is_ready(display_dev)) {
		LOG_ERR("display device not ready");
		return 0;
	}

	for (uint8_t i = 0; i < UI_LED_COUNT; i++) {
		if (!pwm_is_ready_dt(&led_pwm[i])) {
			LOG_ERR("PWM channel %u not ready", i);
			return 0;
		}
		ret = led_set_percent(i, initial_percent[i]);
		if (ret < 0) {
			LOG_ERR("LED%u initial set failed (%d)", i, ret);
			return 0;
		}
	}
	LOG_INF("all %d PWM channels ready", UI_LED_COUNT);

	/*
	 * A missing IMU is not fatal. The LED half of the dashboard is the part
	 * attendees build, and losing the tilt meter to one flaky board should
	 * not cost someone the whole exercise - the status line says so instead.
	 */
	imu_ok = device_is_ready(imu);
	if (!imu_ok) {
		LOG_WRN("IMU %s not ready - tilt meter disabled", imu->name);
	} else {
		imu_ok = (imu_configure() == 0);
		if (imu_ok) {
			imu_capture_zero();
		}
	}

#ifdef CONFIG_TILT_FILTER
	tilt_filter_reset(&pitch_filter);
	tilt_filter_reset(&roll_filter);
#endif

	/*
	 * Audio is also non-fatal. It is the last thing brought up and the
	 * first thing to lose: a board with a codec that does not answer on
	 * i2c0 still runs the whole dashboard, just without the tick.
	 */
#ifdef CONFIG_BEEPER
	/*
	 * TODO 3b: bring the beeper module up.
	 *
	 * modules/beeper exposes beeper_init() - see its header. It returns a
	 * negative errno if the codec did not answer on i2c0.
	 *
	 * That must not be fatal. A board whose codec is unreachable should
	 * still run the whole dashboard, just without the tick, so log a
	 * warning and carry on rather than returning.
	 */
#endif

	ui_init(on_brightness, initial_percent);

	/*
	 * LVGL will not move a slider while the finger is down until it has
	 * travelled scroll_limit pixels from the press point - see the
	 * check_drag branch of update_knob_pos() in lv_slider.c. The gate is
	 * skipped on release, so below that distance a press looks completely
	 * dead and then snaps to the finger the moment it lifts.
	 *
	 * The limit exists so a slider does not swallow a scroll gesture that
	 * was meant for a scrollable parent. Nothing in this UI scrolls - the
	 * active screen and every container have LV_OBJ_FLAG_SCROLLABLE
	 * cleared - so the default 10 px buys nothing here and only costs
	 * responsiveness.
	 *
	 * Zero rather than one: at one, a finger held perfectly still gives an
	 * offset of zero, which is still below the limit, so the knob does not
	 * move until release. Zero removes the gate entirely and gives
	 * tap-to-set, which is what a brightness control should do. It is only
	 * safe because update_knob_pos() also gives up when the input device
	 * has latched onto a scroll object, and nothing here can become one.
	 *
	 * The default is a hardcoded #define in lv_indev.c with no Kconfig
	 * symbol behind it, so it has to be set at runtime.
	 */
	for (lv_indev_t *indev = lv_indev_get_next(NULL); indev != NULL;
	     indev = lv_indev_get_next(indev)) {
		if (lv_indev_get_type(indev) == LV_INDEV_TYPE_POINTER) {
			lv_indev_set_scroll_limit(indev, 0);
		}
	}

	/*
	 * The first flush is discarded by the infineon_dc driver, so it is
	 * issued before blanking is turned off to avoid showing a partial
	 * frame.
	 */
	lv_timer_handler();

	ret = display_blanking_off(display_dev);
	if (ret < 0 && ret != -ENOSYS) {
		LOG_ERR("blanking off failed (%d)", ret);
		return 0;
	}

	/*
	 * The Waveshare panel's backlight is driven over I2C (register 0x86),
	 * independent of the MIPI DSI video link. Without this the frames are
	 * correct but the screen stays dark.
	 */
	(void)display_set_brightness(display_dev, 255);

	ui_set_status(imu_ok ? "LVGL + hardware PWM + BMI270" : "IMU unavailable - LEDs only");

	while (1) {
		uint32_t now = k_uptime_get_32();

		/*
		 * The sensor and the UI run on separate cadences now that the
		 * screen only repaints on change. LVGL is serviced every
		 * UI_TICK_MS so a touch is picked up within one tick of the
		 * FocalTech driver reporting it, while the BMI270 keeps the
		 * much slower poll it actually needs - the tilt meter shows
		 * tenths of a degree, and reading it a hundred times a second
		 * would only add traffic to the I2C bus the display panel
		 * shares.
		 */
		if (imu_ok && (int32_t)(now - next_imu_ms) >= 0) {
			int32_t pitch, roll;

			next_imu_ms = now + IMU_PERIOD_MS;

			ret = imu_read_angles(&pitch, &roll);
			if (ret == 0) {
				/*
				 * No offset subtraction here: imu_read_angles()
				 * already rotated the sample into the frame
				 * captured at boot, so these are angles from
				 * rest.
				 */

				/*
				 * Raw readings jitter by a degree or two even
				 * with the board sitting still, which makes the
				 * meter twitch constantly. The local tilt_filter
				 * module smooths them; build with
				 * CONFIG_TILT_FILTER=n to see the difference.
				 */
#ifdef CONFIG_TILT_FILTER
				pitch = tilt_filter_update(&pitch_filter, pitch);
				roll = tilt_filter_update(&roll_filter, roll);
#endif
				ui_set_tilt(pitch, roll);

				/*
				 * Periodic readout. Not for the attendee's
				 * benefit - it is the only way to confirm the
				 * sensor path from a terminal when nobody is
				 * looking at the panel.
				 */
				if (++tick % 100 == 0) {
					LOG_INF("pitch %d mdeg  roll %d mdeg", pitch, roll);
				}
			} else if (!imu_warned) {
				/*
				 * Logged once, not every poll. In immediate log
				 * mode a per-iteration warning saturates the
				 * UART and starves the LVGL refresh, which makes
				 * a sensor problem look like a display problem.
				 */
				imu_warned = true;
				LOG_WRN("IMU read failed (%d) - tilt meter frozen", ret);
				ui_set_status("IMU read failed - LEDs still live");
			}
		}

		{
			/*
			 * TEMPORARY DIAGNOSTIC - not part of the lab.
			 *
			 * Counts how many of these ticks actually repainted.
			 * A repaint hands the display controller a different
			 * frame buffer, and the infineon_dc driver then blocks
			 * until the next frame-complete interrupt, so a real
			 * repaint costs tens of milliseconds while an idle
			 * tick costs tens of microseconds. The two are
			 * trivially separable by time.
			 */
			static uint32_t worst_us;
			static uint32_t repaints;
			uint32_t t0 = k_cycle_get_32();
			uint32_t dt;

			lv_timer_handler();

			dt = k_cyc_to_us_floor32(k_cycle_get_32() - t0);

			if (dt >= 20000U) {
				repaints++;
				worst_us = MAX(worst_us, dt);
			}

			if ((int32_t)(now - next_report_ms) >= 0) {
				next_report_ms = now + REPORT_PERIOD_MS;
				LOG_INF("repaints %u / %u ms (worst %u us)",
					repaints, REPORT_PERIOD_MS, worst_us);
				repaints = 0;
				worst_us = 0;
			}
		}

		k_sleep(K_MSEC(UI_TICK_MS));
	}

	return 0;
}
```
